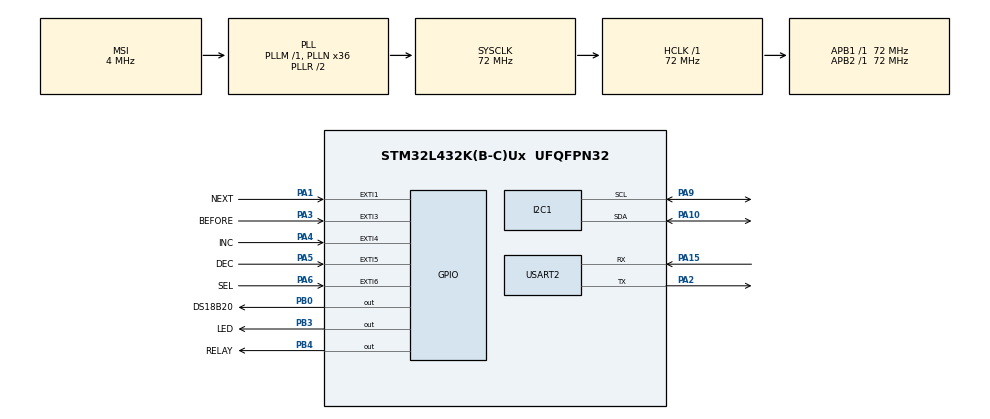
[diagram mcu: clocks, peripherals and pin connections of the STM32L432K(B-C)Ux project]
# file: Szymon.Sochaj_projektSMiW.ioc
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I2C1.Analog_Filter=I2C_ANALOGFILTER_DISABLE
I2C1.I2C_Fall_Time=0
I2C1.I2C_Rise_Time=0
I2C1.Timing=0x10808ED6
IWDG.Prescaler=IWDG_PRESCALER_32
IWDG.Reload=2999
Mcu.Family=STM32L4
Mcu.Name=STM32L432K(B-C)Ux
Mcu.Package=UFQFPN32
NVIC.EXTI1_IRQn=true\:0\:0\:false\:false\:true\:true\:true
NVIC.EXTI3_IRQn=true\:0\:0\:false\:false\:true\:true\:true
NVIC.EXTI4_IRQn=true\:0\:0\:false\:false\:true\:true\:true
NVIC.EXTI9_5_IRQn=true\:0\:0\:false\:false\:true\:true\:true
NVIC.PriorityGroup=NVIC_PRIORITYGROUP_4
NVIC.TIM2_IRQn=true\:0\:0\:false\:false\:true\:true\:true
PA0.Mode=HSE-External-Clock-Source-for-LittleOrca
PA0.Signal=RCC_CK_IN
PA1.GPIO_Label=NEXT
PA1.GPIO_ModeDefaultEXTI=GPIO_MODE_IT_FALLING
PA1.GPIO_PuPd=GPIO_PULLUP
PA1.Signal=GPXTI1
PA10.Mode=I2C
PA10.Signal=I2C1_SDA
PA13\ (JTMS-SWDIO).Mode=Serial_Wire
PA13\ (JTMS-SWDIO).Signal=SYS_JTMS-SWDIO
PA14\ (JTCK-SWCLK).Mode=Serial_Wire
PA14\ (JTCK-SWCLK).Signal=SYS_JTCK-SWCLK
PA15\ (JTDI).GPIO_ModeDefaultPP=GPIO_MODE_AF_PP
PA15\ (JTDI).GPIO_PuPd=GPIO_NOPULL
PA15\ (JTDI).GPIO_Speed=GPIO_SPEED_FREQ_VERY_HIGH
PA15\ (JTDI).Mode=Asynchronous
PA15\ (JTDI).Signal=USART2_RX
PA2.GPIO_ModeDefaultPP=GPIO_MODE_AF_PP
PA2.GPIO_PuPd=GPIO_NOPULL
PA2.GPIO_Speed=GPIO_SPEED_FREQ_VERY_HIGH
PA2.Mode=Asynchronous
PA2.Signal=USART2_TX
PA3.GPIO_Label=BEFORE
PA3.GPIO_ModeDefaultEXTI=GPIO_MODE_IT_FALLING
PA3.GPIO_PuPd=GPIO_PULLUP
PA3.Signal=GPXTI3
PA4.GPIO_Label=INC
PA4.GPIO_ModeDefaultEXTI=GPIO_MODE_IT_FALLING
PA4.GPIO_PuPd=GPIO_PULLUP
PA4.Signal=GPXTI4
PA5.GPIO_Label=DEC
PA5.GPIO_ModeDefaultEXTI=GPIO_MODE_IT_FALLING
PA5.GPIO_PuPd=GPIO_PULLUP
PA5.Signal=GPXTI5
PA6.GPIO_Label=SEL
PA6.GPIO_ModeDefaultEXTI=GPIO_MODE_IT_FALLING
PA6.GPIO_PuPd=GPIO_PULLUP
PA6.Signal=GPXTI6
PA9.Mode=I2C
PA9.Signal=I2C1_SCL
PB0.GPIO_Label=DS18B20
PB0.GPIO_Speed=GPIO_SPEED_FREQ_MEDIUM
PB0.Signal=GPIO_Output
PB3\ (JTDO-TRACESWO).GPIO_Label=LED
PB3\ (JTDO-TRACESWO).GPIO_ModeDefaultOutputPP=GPIO_MODE_OUTPUT_PP
PB3\ (JTDO-TRACESWO).GPIO_PuPd=GPIO_NOPULL
PB3\ (JTDO-TRACESWO).GPIO_Speed=GPIO_SPEED_FREQ_LOW
PB3\ (JTDO-TRACESWO).PinState=GPIO_PIN_RESET
PB3\ (JTDO-TRACESWO).Signal=GPIO_Output
PB4\ (NJTRST).GPIO_Label=RELAY
PB4\ (NJTRST).Signal=GPIO_Output
PC14-OSC32_IN\ (PC14).Mode=LSE-External-Oscillator
PC14-OSC32_IN\ (PC14).Signal=RCC_OSC32_IN
PC15-OSC32_OUT\ (PC15).Mode=LSE-External-Oscillator
PC15-OSC32_OUT\ (PC15).Signal=RCC_OSC32_OUT
ProjectManager.HeapSize=0x200
ProjectManager.StackSize=0x400
ProjectManager.TargetToolchain=STM32CubeIDE
RCC.ADCFreq_Value=16000000
RCC.AHBFreq_Value=72000000
RCC.APB1Freq_Value=72000000
RCC.APB1TimFreq_Value=72000000
RCC.APB2Freq_Value=72000000
RCC.APB2TimFreq_Value=72000000
RCC.CortexFreq_Value=72000000
RCC.HCLKFreq_Value=72000000
RCC.HSE_VALUE=8000000
RCC.HSI16_VALUE=16000000
RCC.HSI48_VALUE=48000000
RCC.HSI_VALUE=16000000
RCC.I2C1CLockSelection=RCC_I2C1CLKSOURCE_SYSCLK
RCC.MSI_VALUE=4000000
RCC.PLLMUL=RCC_PLLMUL_4
RCC.PLLN=36
RCC.SYSCLKFreq_VALUE=72000000
RCC.SYSCLKSource=RCC_SYSCLKSOURCE_PLLCLK
RCC.USBFreq_Value=16000000
RCC.VCOOutputFreq_Value=144000000
TIM1.Period=0xffff-1
TIM1.Prescaler=72-1
TIM2.AutoReloadPreload=TIM_AUTORELOAD_PRELOAD_ENABLE
TIM2.Period=54000
TIM2.Prescaler=40000
USART2.VirtualMode-Asynchronous=VM_ASYNC
VP_IWDG_VS_IWDG.Mode=IWDG_Activate
VP_TIM1_VS_ClockSourceINT.Mode=Internal
VP_TIM2_VS_ClockSourceINT.Mode=Internal
board=NUCLEO-L432KC

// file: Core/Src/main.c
/* USER CODE BEGIN Header */
/**
  ******************************************************************************
  * @file           : main.c
  * @brief          : Main program body
  ******************************************************************************
  * @attention
  *
  * <h2><center>&copy; Copyright (c) 2021 STMicroelectronics.
  * All rights reserved.</center></h2>
  *
  * This software component is licensed by ST under BSD 3-Clause license,
  * the "License"; You may not use this file except in compliance with the
  * License. You may obtain a copy of the License at:
  *                        opensource.org/licenses/BSD-3-Clause
  *
  ******************************************************************************
  */
/* USER CODE END Header */

#include "main.h"

/* USER CODE BEGIN Includes */
#include "stdio.h"
/* USER CODE END Includes */

I2C_HandleTypeDef hi2c1;

IWDG_HandleTypeDef hiwdg;

TIM_HandleTypeDef htim1;
TIM_HandleTypeDef htim2;

UART_HandleTypeDef huart2;

void SystemClock_Config(void);
static void MX_GPIO_Init(void);
static void MX_USART2_UART_Init(void);
static void MX_I2C1_Init(void);
static void MX_TIM1_Init(void);
static void MX_TIM2_Init(void);
static void MX_IWDG_Init(void);

/* USER CODE BEGIN 0 */
volatile _Bool buttonPressed=0 , selPressed=0, incPressed=0, decPressed=0, nextPressed=0, beforePressed=0;
uint8_t Temp_byte1=0, Temp_byte2=0;
uint8_t currentRow=1;
_Bool editionEnabled=0;
_Bool editionEnd=0;
_Bool hysteresisActive=0;
_Bool working=0;
uint8_t mode=0;
uint8_t modeNew=0;
_Bool manual=0;
volatile float timePassed=0.0;
float temperature=0.0;
float workingTime=1.0;
float restingTime=1.0;
float workingTemperature=30.0;
float hysteresis=5.0;
_Bool manualNew=0;
float workingTimeNew=1.0;
float restingTimeNew=1.0;
float workingTemperatureNew=30.0;
float hysteresisNew=5.0;
char firstRowString[20];
char secondRowString[20];
char thirdRowString[20];
char fourthRowString[20];

void Delay_us(uint16_t us)
{
	__HAL_TIM_SET_COUNTER(&htim1,0);
	    while ((__HAL_TIM_GET_COUNTER(&htim1))<us);
}

#define SLAVE_ADDRESS_LCD 0x4E // change this according to your setup

void lcd_send_cmd (char cmd)
{
	__disable_irq();
  char data_u, data_l;
	uint8_t data_t[4];
	data_u = (cmd&0xf0);
	data_l = ((cmd<<4)&0xf0);
	data_t[0] = data_u|0x0C;  //en=1, rs=0
	data_t[1] = data_u|0x08;  //en=0, rs=0
	data_t[2] = data_l|0x0C;  //en=1, rs=0
	data_t[3] = data_l|0x08;  //en=0, rs=0
	HAL_I2C_Master_Transmit (&hi2c1, SLAVE_ADDRESS_LCD,data_t, 4, 100);
	__enable_irq();
}

void lcd_send_data (char data)
{

	__disable_irq();
	char data_u, data_l;
	uint8_t data_t[4];
	data_u = (data&0xf0);
	data_l = ((data<<4)&0xf0);
	data_t[0] = data_u|0x0D;  //en=1, rs=0
	data_t[1] = data_u|0x09;  //en=0, rs=0
	data_t[2] = data_l|0x0D;  //en=1, rs=0
	data_t[3] = data_l|0x09;  //en=0, rs=0
	HAL_I2C_Master_Transmit (&hi2c1, SLAVE_ADDRESS_LCD, data_t, 4, 100);

	__enable_irq();
}

void loadingScreen()
{
	int i;
	int j=0;
	char first[20]=	{'I','N','I','C','J','A','L','I','Z','A','C','J','A',' ',' ',' ',' ',' ',' ',' '};
	char second[20]={'.','.','.',' ',' ',' ',' ',' ',' ',' ',' ',' ',' ',' ',' ',' ',' ',' ',' ',' '};
	char third[20]=	{'.','.','.',' ',' ',' ',' ',' ',' ',' ',' ',' ',' ',' ',' ',' ',' ',' ',' ',' '};
	char fourth[20]={'.','.','.',' ',' ',' ',' ',' ',' ',' ',' ',' ',' ',' ',' ',' ',' ',' ',' ',' '};

	for(i=0x00; i<0x14 ; i++)
	{
		lcd_send_cmd (0x80|i);
		lcd_send_data(first[j]);
		HAL_Delay(10);
		j++;
	}
	j=0;
	for(i=0x40; i<0x54 ; i++)
	{
		lcd_send_cmd (0x80|i);
		lcd_send_data(second[j]);
		HAL_Delay(10);
		j++;
	}
	j=0;

	for(i=0x14;i<0x28;i++)
	{
		lcd_send_cmd (0x80|i);
		lcd_send_data(third[j]);
		HAL_Delay(10);
		j++;
	}
	j=0;
	for(i=0x54; i<0x68 ; i++)
	{
		lcd_send_cmd (0x80|i);
		lcd_send_data(fourth[j]);
		HAL_Delay(10);
		j++;
	}

	HAL_Delay(200);
}

void lcd_init (void)
{

	// 4 bit initialisation
	HAL_Delay(41);  // wait for >40ms
	lcd_send_cmd (0x30);
	Delay_us(42000);  // wait for >4.1ms
	lcd_send_cmd (0x30);
	Delay_us(110);  // wait for >100us
	lcd_send_cmd (0x30);
	HAL_Delay(50);
	lcd_send_cmd (0x20);  // 4bit mode
	HAL_Delay(50);

	lcd_send_cmd (0x28); // Function set --> DL=0 (4 bit mode), N = 1 (2 line display) F = 0 (5x8 characters)
	HAL_Delay(1);
	lcd_send_cmd (0x08); //Display on/off control --> D=0,C=0, B=0  ---> display off
	HAL_Delay(1);
	lcd_send_cmd (0x06); //Entry mode set --> I/D = 1 (increment cursor) & S = 0 (no shift)
	HAL_Delay(1);
	lcd_send_cmd (0x01);  // clear display
	HAL_Delay(1);
	HAL_Delay(1);
	lcd_send_cmd (0x0C); //Display on/off control --> D = 1, C and B = 0. (Cursor and blink, last two bits)

	loadingScreen();
	lcd_send_cmd (0x01);  // clear display
	HAL_Delay(1);
}

void lcd_send_string (char *str)
{
	while (*str) lcd_send_data (*str++);
}

void Set_Pin_Output (GPIO_TypeDef *GPIOx, uint16_t GPIO_Pin)
{
	GPIO_InitTypeDef GPIO_InitStruct = {0};
	GPIO_InitStruct.Pin = GPIO_Pin;
	GPIO_InitStruct.Mode = GPIO_MODE_OUTPUT_PP;
	GPIO_InitStruct.Speed = GPIO_SPEED_FREQ_MEDIUM;
	GPIO_InitStruct.Pull = GPIO_NOPULL;
	HAL_GPIO_Init(GPIOx, &GPIO_InitStruct);
}

void Set_Pin_Input (GPIO_TypeDef *GPIOx, uint16_t GPIO_Pin)
{
	GPIO_InitTypeDef GPIO_InitStruct = {0};
	GPIO_InitStruct.Pin = GPIO_Pin;
	GPIO_InitStruct.Mode = GPIO_MODE_INPUT;
	GPIO_InitStruct.Pull = GPIO_NOPULL;
	HAL_GPIO_Init(GPIOx, &GPIO_InitStruct);
}

int DS18B20_Start (void)
{
	int Response = 0;
	Set_Pin_Output(DS18B20_GPIO_Port, DS18B20_Pin);   // set the pin as output
	HAL_GPIO_WritePin (DS18B20_GPIO_Port, DS18B20_Pin, 0);  // pull the pin low
	Delay_us (480-8);   // delay according to datasheet

	Set_Pin_Input(DS18B20_GPIO_Port, DS18B20_Pin);    // set the pin as input
	Delay_us (60);    // delay according to datasheet

	if (!(HAL_GPIO_ReadPin (DS18B20_GPIO_Port, DS18B20_Pin))) Response = 1;    // if the pin is low i.e the presence pulse is detected
	else Response = -1;

	Delay_us (420); // 480 us delay totally.

	return Response;
}

void DS18B20_Write (uint8_t data)
{
	Set_Pin_Output(DS18B20_GPIO_Port, DS18B20_Pin);  // set as output

	for (int i=0; i<8; i++)
	{

		if ((data & (1<<i))!=0)  // if the bit is high
		{
			// write 1

			Set_Pin_Output(DS18B20_GPIO_Port, DS18B20_Pin);  // set as output
			HAL_GPIO_WritePin (DS18B20_GPIO_Port, DS18B20_Pin, 0);  // pull the pin LOW
			Delay_us (2);  // wait for 1 us
			HAL_GPIO_WritePin (DS18B20_GPIO_Port, DS18B20_Pin, 1);  // pull the pin LOW
			Delay_us (2);  // wait for 1 us

			Set_Pin_Input(DS18B20_GPIO_Port, DS18B20_Pin);  // set as input
			Delay_us (42-8);  // wait for 60 us
		}

		else  // if the bit is low
		{
			// write 0

			Set_Pin_Output(DS18B20_GPIO_Port, DS18B20_Pin);
			HAL_GPIO_WritePin (DS18B20_GPIO_Port, DS18B20_Pin, 0);  // pull the pin LOW
			Delay_us (60);  // wait for 60 us

			Set_Pin_Input(DS18B20_GPIO_Port, DS18B20_Pin);
		}
	}
}

uint8_t DS18B20_Read (void)
{
	uint8_t value=0;

	Set_Pin_Input(DS18B20_GPIO_Port, DS18B20_Pin);

	for (int i=0;i<8;i++)
	{
		Set_Pin_Output(DS18B20_GPIO_Port, DS18B20_Pin);   // set as output

		HAL_GPIO_WritePin (DS18B20_GPIO_Port, DS18B20_Pin, 0);  // pull the data pin LOW
		Delay_us (5);  // wait for > 1us

		Set_Pin_Input(DS18B20_GPIO_Port, DS18B20_Pin);  // set as input
		if (HAL_GPIO_ReadPin (DS18B20_GPIO_Port, DS18B20_Pin))  // if the pin is HIGH
		{
			value |= 1<<i;  // read = 1
		}
		else
			value |= 0<<i;  // read = 0
		Delay_us (60-8);  // wait for 60 us
	}
	return value;
}

void prepareTemperature()
{
	DS18B20_Start();
	HAL_Delay(1);
	DS18B20_Write(0xCC);
	DS18B20_Write(0x44);
}

void readTemperature()
{
	 HAL_Delay(550);
	 DS18B20_Start();
	 HAL_Delay(1);
	 DS18B20_Write(0xCC);
	 DS18B20_Write(0xBE);

	 Temp_byte1= DS18B20_Read();
	 Temp_byte2= DS18B20_Read();
	 temperature=(float)((Temp_byte2<<8)|Temp_byte1)/16;
	 if(temperature<0.0 || temperature>125.0)
		 temperature=0.0;
}

void updateScreen()
{
	lcd_send_cmd (0x80|0x00);
	lcd_send_string(firstRowString);
	lcd_send_cmd (0x80|0x0E);
	if(working)
		lcd_send_string("P:ON  ");
	else
		lcd_send_string("P:OFF ");
 	lcd_send_cmd (0x80|0x40);
 	lcd_send_string(secondRowString);
 	lcd_send_cmd (0x80|0x14);
 	lcd_send_string(thirdRowString);
 	lcd_send_cmd (0x80|0x54);
 	lcd_send_string(fourthRowString);
}

void HAL_TIM_PeriodElapsedCallback(TIM_HandleTypeDef *htim)
{
	if(htim==&htim2)
	{
		timePassed+=0.5;
	}
}

void checkKeyboard()
{
	if(buttonPressed)
	{
		if(selPressed)
		{
			editionEnabled = !editionEnabled;
			if(!editionEnabled)
				editionEnd=1;
			HAL_GPIO_WritePin(LED_GPIO_Port,LED_Pin,editionEnabled);
			selPressed=0;
		}
		else if(editionEnabled)
		{
				if (decPressed)
				{
					if(modeNew==0)
					{
						currentRow++;
						if(currentRow>2)
							currentRow=1;

					}
					else
					{
						currentRow++;
						if(currentRow>3)
							currentRow=1;
					}
					decPressed=0;

				}
				else if (incPressed)
				{
					if(modeNew==0)
					{
						currentRow--;
						if(currentRow<1)
							currentRow=2;
					}
					else
					{
						currentRow--;
						if(currentRow<1)
							currentRow=3;
					}
					incPressed=0;
				}
				else if (beforePressed)
				{
					switch(modeNew)
					{
						case 0:
							switch(currentRow)
							{
							case 1:
								modeNew=2;
								break;
							case 2:
								manualNew=!manualNew;
								break;
							}
							break;
						case 1:
							switch(currentRow)
							{
								case 1:
									modeNew=0;
									break;
								case 2:
									workingTemperatureNew-=0.5;
									if(workingTemperatureNew<5.0)
										workingTemperatureNew=5.0;
									break;
								case 3:
									hysteresisNew-=0.5;
									if(hysteresisNew<0.5)
										hysteresisNew=0.5;
									break;
							}
							break;
						case 2:
							switch(currentRow)
							{
							case 1:
								modeNew=1;
								break;
							case 2:
								workingTimeNew-=0.5;
								if(workingTimeNew<0.5)
									workingTimeNew=0.5;
								break;
							case 3:
								restingTimeNew-=0.5;
								if(restingTimeNew<0.5)
									restingTimeNew=0.5;
								break;
							}
							break;
					}
					beforePressed=0;
				}
				else if (nextPressed)
				{
					switch(modeNew)
							{
								case 0:
								switch(currentRow)
								{
								case 1:
									modeNew=1;
									break;
								case 2:
									manualNew=!manualNew;
									break;
								}
								break;
								case 1:
									switch(currentRow)
									{
										case 1:
											modeNew=2;
											break;
										case 2:
											workingTemperatureNew+=0.5;
											if(workingTemperatureNew>80.0)
												workingTemperatureNew=80.0;
											break;
										case 3:
											hysteresisNew+=0.5;
											if(hysteresisNew>30.0)
												hysteresisNew=30.0;
											break;
									}
									break;
								case 2:
									switch(currentRow)
									{
									case 1:
										modeNew=0;
										break;
									case 2:
										workingTimeNew+=0.5;
										if(workingTimeNew>60.0)
											workingTimeNew=60.0;
										break;
									case 3:
										restingTimeNew+=0.5;
										if(restingTimeNew>60.0)
											restingTimeNew=60.0;
										break;
									}
									break;
							}
					nextPressed=0;
				}
		}
		HAL_Delay(150);
		buttonPressed=0;
	}
}
void HAL_GPIO_EXTI_Callback(uint16_t GPIO_Pin)
{
	if(!buttonPressed)
	{
		buttonPressed=1;
		if(GPIO_Pin==SEL_Pin)
		{
			selPressed=1;
		}
		else if(GPIO_Pin==DEC_Pin)
		{
			decPressed=1;
		}
		else if (GPIO_Pin==INC_Pin)
		{
			incPressed=1;
		}
		else if (GPIO_Pin==BEFORE_Pin)
		{
			beforePressed=1;
		}
		else if (GPIO_Pin==NEXT_Pin)
		{
			nextPressed=1;
		}
	}
}

void updateCursor()
{
	if(editionEnabled)
	{
		  switch(currentRow)
		  {
			 case 1:
				 lcd_send_cmd (0x80|0x53);
				 lcd_send_data(127);
				 lcd_send_cmd (0x80|0x67);
				 lcd_send_data(' ');
				 lcd_send_cmd (0x80|0x27);
				 lcd_send_data(' ');
				 break;
			 case 2:
				 lcd_send_cmd (0x80|0x27);
				 lcd_send_data(127);
				 lcd_send_cmd (0x80|0x53);
				 lcd_send_data(' ');
				 lcd_send_cmd (0x80|0x67);
				 lcd_send_data(' ');
				 break;
			 case 3:
				 lcd_send_cmd (0x80|0x67);
				 lcd_send_data(127);
				 lcd_send_cmd (0x80|0x53);
				 lcd_send_data(' ');
				 lcd_send_cmd (0x80|0x27);
				 lcd_send_data(' ');
				 break;
		  }
	}
	else
	{
			lcd_send_cmd (0x80|0x27);
			 lcd_send_data(' ');
			lcd_send_cmd (0x80|0x53);
			 lcd_send_data(' ');
			lcd_send_cmd (0x80|0x67);
			 lcd_send_data(' ');
	}
}
void controlRelay()
{
	switch(mode)
	{
		case 0:
			working=manual;
			break;

		case 1:
			if(temperature<workingTemperature)
			{
				if(temperature<(workingTemperature-hysteresis) || !hysteresisActive)
				{
					hysteresisActive = 0;
					working=1;
				}
			}
			else
			{
				hysteresisActive=1;
				working=0;
			}
			break;

		case 2:
			if(working)
			{
				if(timePassed>=workingTime)
				{
					working=0;
					timePassed=0;
					__HAL_TIM_SET_COUNTER(&htim2,0);
				}
			}
			else
			{
				if(timePassed>=restingTime)
				{
					working=1;
					timePassed=0;
					__HAL_TIM_SET_COUNTER(&htim2,0);
				}
			}
			break;

	}
}

void prepareStrings()
{
	snprintf(firstRowString,19,			"TEMP:%.1f %cC",temperature,223);
	switch(modeNew)
	{
		case 0:
			snprintf		(secondRowString,19,	"TRYB:MANUALNY      ");
			if(manualNew)
				snprintf	(thirdRowString,19,	"PRACA POMPY:TAK    ");
			else
				snprintf	(thirdRowString,19,	"PRACA POMPY:NIE    ");
			snprintf		(fourthRowString,19,	"                   ");
			break;
		case 1:
			snprintf		(secondRowString,19,	"TRYB:TEMPERATURA   ");
			snprintf		(thirdRowString,19, 	"TEMP WYL:%.1f %cC  ",workingTemperatureNew,223);
			snprintf		(fourthRowString,19,	"HISTEREZA:%.1f %cC ",hysteresisNew,223);
			break;
		case 2:
			snprintf		(secondRowString,19,	"TRYB:CZAS          ");
			snprintf		(thirdRowString,19, 	"PRACA:%.1f min     ",workingTimeNew);
			snprintf		(fourthRowString,19,	"SPOCZYNEK:%.1f min ",restingTimeNew);
			break;
	}
}
void updateVariables()
{
	mode=modeNew;
	manual=manualNew;
	workingTime=workingTimeNew;
	restingTime=restingTimeNew;
	workingTemperature=workingTemperatureNew;
	hysteresis=hysteresisNew;
	hysteresisActive=0;
	if(mode==2)
		{
			working=1;
			timePassed=0;
			__HAL_TIM_SET_COUNTER(&htim2,0);
		}
}
/* USER CODE END 0 */

int main(void)
{

  /* MCU Configuration--------------------------------------------------------*/

  /* Reset of all peripherals, Initializes the Flash interface and the Systick. */
  HAL_Init();

  /* Configure the system clock */
  SystemClock_Config();

  /* Initialize all configured peripherals */
  MX_GPIO_Init();
  MX_USART2_UART_Init();
  MX_I2C1_Init();
  MX_TIM1_Init();
  MX_TIM2_Init();
  MX_IWDG_Init();
  /* USER CODE BEGIN 2 */
  HAL_TIM_Base_Start(&htim1);
  HAL_TIM_Base_Start_IT(&htim2);
  prepareTemperature();
  readTemperature();
  lcd_init();
  /* USER CODE END 2 */

  /* Infinite loop */
  /* USER CODE BEGIN WHILE */
  while (1)
  {
	  	  	prepareTemperature();
	  	  	checkKeyboard();
	  	  	readTemperature();
	  	  	if(editionEnd)
	  	  	{
	  	  		updateVariables();
	  	  		currentRow=1;
	  	  		editionEnd=0;
	  	  	}
	  	  	controlRelay();
	  	  	prepareStrings();
		 	HAL_GPIO_WritePin(GPIOB,RELAY_Pin,working);
		 	HAL_IWDG_Refresh(&hiwdg);
		 	updateScreen();
		 	updateCursor();

    /* USER CODE END WHILE */

  }
}

void SystemClock_Config(void)
{
  RCC_OscInitTypeDef RCC_OscInitStruct = {0};
  RCC_ClkInitTypeDef RCC_ClkInitStruct = {0};
  RCC_PeriphCLKInitTypeDef PeriphClkInit = {0};

  /** Configure LSE Drive Capability
  */
  HAL_PWR_EnableBkUpAccess();
  __HAL_RCC_LSEDRIVE_CONFIG(RCC_LSEDRIVE_LOW);
  /** Initializes the CPU, AHB and APB busses clocks
  */
  RCC_OscInitStruct.OscillatorType = RCC_OSCILLATORTYPE_LSI|RCC_OSCILLATORTYPE_LSE
                              |RCC_OSCILLATORTYPE_MSI;
  RCC_OscInitStruct.LSEState = RCC_LSE_ON;
  RCC_OscInitStruct.LSIState = RCC_LSI_ON;
  RCC_OscInitStruct.MSIState = RCC_MSI_ON;
  RCC_OscInitStruct.MSICalibrationValue = 0;
  RCC_OscInitStruct.MSIClockRange = RCC_MSIRANGE_6;
  RCC_OscInitStruct.PLL.PLLState = RCC_PLL_ON;
  RCC_OscInitStruct.PLL.PLLSource = RCC_PLLSOURCE_MSI;
  RCC_OscInitStruct.PLL.PLLM = 1;
  RCC_OscInitStruct.PLL.PLLN = 36;
  RCC_OscInitStruct.PLL.PLLP = RCC_PLLP_DIV7;
  RCC_OscInitStruct.PLL.PLLQ = RCC_PLLQ_DIV2;
  RCC_OscInitStruct.PLL.PLLR = RCC_PLLR_DIV2;
  if (HAL_RCC_OscConfig(&RCC_OscInitStruct) != HAL_OK)
  {
    Error_Handler();
  }
  /** Initializes the CPU, AHB and APB busses clocks
  */
  RCC_ClkInitStruct.ClockType = RCC_CLOCKTYPE_HCLK|RCC_CLOCKTYPE_SYSCLK
                              |RCC_CLOCKTYPE_PCLK1|RCC_CLOCKTYPE_PCLK2;
  RCC_ClkInitStruct.SYSCLKSource = RCC_SYSCLKSOURCE_PLLCLK;
  RCC_ClkInitStruct.AHBCLKDivider = RCC_SYSCLK_DIV1;
  RCC_ClkInitStruct.APB1CLKDivider = RCC_HCLK_DIV1;
  RCC_ClkInitStruct.APB2CLKDivider = RCC_HCLK_DIV1;

  if (HAL_RCC_ClockConfig(&RCC_ClkInitStruct, FLASH_LATENCY_4) != HAL_OK)
  {
    Error_Handler();
  }
  PeriphClkInit.PeriphClockSelection = RCC_PERIPHCLK_USART2|RCC_PERIPHCLK_I2C1;
  PeriphClkInit.Usart2ClockSelection = RCC_USART2CLKSOURCE_PCLK1;
  PeriphClkInit.I2c1ClockSelection = RCC_I2C1CLKSOURCE_SYSCLK;
  if (HAL_RCCEx_PeriphCLKConfig(&PeriphClkInit) != HAL_OK)
  {
    Error_Handler();
  }
  /** Configure the main internal regulator output voltage
  */
  if (HAL_PWREx_ControlVoltageScaling(PWR_REGULATOR_VOLTAGE_SCALE1) != HAL_OK)
  {
    Error_Handler();
  }
  /** Enable MSI Auto calibration
  */
  HAL_RCCEx_EnableMSIPLLMode();
}

static void MX_I2C1_Init(void)
{

  hi2c1.Instance = I2C1;
  hi2c1.Init.Timing = 0x10808ED6;
  hi2c1.Init.OwnAddress1 = 0;
  hi2c1.Init.AddressingMode = I2C_ADDRESSINGMODE_7BIT;
  hi2c1.Init.DualAddressMode = I2C_DUALADDRESS_DISABLE;
  hi2c1.Init.OwnAddress2 = 0;
  hi2c1.Init.OwnAddress2Masks = I2C_OA2_NOMASK;
  hi2c1.Init.GeneralCallMode = I2C_GENERALCALL_DISABLE;
  hi2c1.Init.NoStretchMode = I2C_NOSTRETCH_DISABLE;
  if (HAL_I2C_Init(&hi2c1) != HAL_OK)
  {
    Error_Handler();
  }
  /** Configure Analogue filter
  */
  if (HAL_I2CEx_ConfigAnalogFilter(&hi2c1, I2C_ANALOGFILTER_DISABLE) != HAL_OK)
  {
    Error_Handler();
  }
  /** Configure Digital filter
  */
  if (HAL_I2CEx_ConfigDigitalFilter(&hi2c1, 0) != HAL_OK)
  {
    Error_Handler();
  }

}

static void MX_IWDG_Init(void)
{

  hiwdg.Instance = IWDG;
  hiwdg.Init.Prescaler = IWDG_PRESCALER_32;
  hiwdg.Init.Window = 4095;
  hiwdg.Init.Reload = 2999;
  if (HAL_IWDG_Init(&hiwdg) != HAL_OK)
  {
    Error_Handler();
  }

}

static void MX_TIM1_Init(void)
{

  TIM_ClockConfigTypeDef sClockSourceConfig = {0};
  TIM_MasterConfigTypeDef sMasterConfig = {0};

  htim1.Instance = TIM1;
  htim1.Init.Prescaler = 72-1;
  htim1.Init.CounterMode = TIM_COUNTERMODE_UP;
  htim1.Init.Period = 0xffff-1;
  htim1.Init.ClockDivision = TIM_CLOCKDIVISION_DIV1;
  htim1.Init.RepetitionCounter = 0;
  htim1.Init.AutoReloadPreload = TIM_AUTORELOAD_PRELOAD_DISABLE;
  if (HAL_TIM_Base_Init(&htim1) != HAL_OK)
  {
    Error_Handler();
  }
  sClockSourceConfig.ClockSource = TIM_CLOCKSOURCE_INTERNAL;
  if (HAL_TIM_ConfigClockSource(&htim1, &sClockSourceConfig) != HAL_OK)
  {
    Error_Handler();
  }
  sMasterConfig.MasterOutputTrigger = TIM_TRGO_RESET;
  sMasterConfig.MasterOutputTrigger2 = TIM_TRGO2_RESET;
  sMasterConfig.MasterSlaveMode = TIM_MASTERSLAVEMODE_DISABLE;
  if (HAL_TIMEx_MasterConfigSynchronization(&htim1, &sMasterConfig) != HAL_OK)
  {
    Error_Handler();
  }

}

static void MX_TIM2_Init(void)
{

  TIM_ClockConfigTypeDef sClockSourceConfig = {0};
  TIM_MasterConfigTypeDef sMasterConfig = {0};

  htim2.Instance = TIM2;
  htim2.Init.Prescaler = 40000;
  htim2.Init.CounterMode = TIM_COUNTERMODE_UP;
  htim2.Init.Period = 54000;
  htim2.Init.ClockDivision = TIM_CLOCKDIVISION_DIV1;
  htim2.Init.AutoReloadPreload = TIM_AUTORELOAD_PRELOAD_ENABLE;
  if (HAL_TIM_Base_Init(&htim2) != HAL_OK)
  {
    Error_Handler();
  }
  sClockSourceConfig.ClockSource = TIM_CLOCKSOURCE_INTERNAL;
  if (HAL_TIM_ConfigClockSource(&htim2, &sClockSourceConfig) != HAL_OK)
  {
    Error_Handler();
  }
  sMasterConfig.MasterOutputTrigger = TIM_TRGO_RESET;
  sMasterConfig.MasterSlaveMode = TIM_MASTERSLAVEMODE_DISABLE;
  if (HAL_TIMEx_MasterConfigSynchronization(&htim2, &sMasterConfig) != HAL_OK)
  {
    Error_Handler();
  }

}

static void MX_USART2_UART_Init(void)
{

  huart2.Instance = USART2;
  huart2.Init.BaudRate = 115200;
  huart2.Init.WordLength = UART_WORDLENGTH_8B;
  huart2.Init.StopBits = UART_STOPBITS_1;
  huart2.Init.Parity = UART_PARITY_NONE;
  huart2.Init.Mode = UART_MODE_TX_RX;
  huart2.Init.HwFlowCtl = UART_HWCONTROL_NONE;
  huart2.Init.OverSampling = UART_OVERSAMPLING_16;
  huart2.Init.OneBitSampling = UART_ONE_BIT_SAMPLE_DISABLE;
  huart2.AdvancedInit.AdvFeatureInit = UART_ADVFEATURE_NO_INIT;
  if (HAL_UART_Init(&huart2) != HAL_OK)
  {
    Error_Handler();
  }

}

static void MX_GPIO_Init(void)
{
  GPIO_InitTypeDef GPIO_InitStruct = {0};

  /* GPIO Ports Clock Enable */
  __HAL_RCC_GPIOC_CLK_ENABLE();
  __HAL_RCC_GPIOA_CLK_ENABLE();
  __HAL_RCC_GPIOB_CLK_ENABLE();

  /*Configure GPIO pin Output Level */
  HAL_GPIO_WritePin(GPIOB, DS18B20_Pin|LED_Pin|RELAY_Pin, GPIO_PIN_RESET);

  /*Configure GPIO pins : NEXT_Pin BEFORE_Pin INC_Pin DEC_Pin
                           SEL_Pin */
  GPIO_InitStruct.Pin = NEXT_Pin|BEFORE_Pin|INC_Pin|DEC_Pin
                          |SEL_Pin;
  GPIO_InitStruct.Mode = GPIO_MODE_IT_FALLING;
  GPIO_InitStruct.Pull = GPIO_PULLUP;
  HAL_GPIO_Init(GPIOA, &GPIO_InitStruct);

  /*Configure GPIO pin : DS18B20_Pin */
  GPIO_InitStruct.Pin = DS18B20_Pin;
  GPIO_InitStruct.Mode = GPIO_MODE_OUTPUT_PP;
  GPIO_InitStruct.Pull = GPIO_NOPULL;
  GPIO_InitStruct.Speed = GPIO_SPEED_FREQ_MEDIUM;
  HAL_GPIO_Init(DS18B20_GPIO_Port, &GPIO_InitStruct);

  /*Configure GPIO pins : LED_Pin RELAY_Pin */
  GPIO_InitStruct.Pin = LED_Pin|RELAY_Pin;
  GPIO_InitStruct.Mode = GPIO_MODE_OUTPUT_PP;
  GPIO_InitStruct.Pull = GPIO_NOPULL;
  GPIO_InitStruct.Speed = GPIO_SPEED_FREQ_LOW;
  HAL_GPIO_Init(GPIOB, &GPIO_InitStruct);

  /* EXTI interrupt init*/
  HAL_NVIC_SetPriority(EXTI1_IRQn, 0, 0);
  HAL_NVIC_EnableIRQ(EXTI1_IRQn);

  HAL_NVIC_SetPriority(EXTI3_IRQn, 0, 0);
  HAL_NVIC_EnableIRQ(EXTI3_IRQn);

  HAL_NVIC_SetPriority(EXTI4_IRQn, 0, 0);
  HAL_NVIC_EnableIRQ(EXTI4_IRQn);

  HAL_NVIC_SetPriority(EXTI9_5_IRQn, 0, 0);
  HAL_NVIC_EnableIRQ(EXTI9_5_IRQn);

}

void Error_Handler(void)
{
}

/************************ (C) COPYRIGHT STMicroelectronics *****END OF FILE****/
